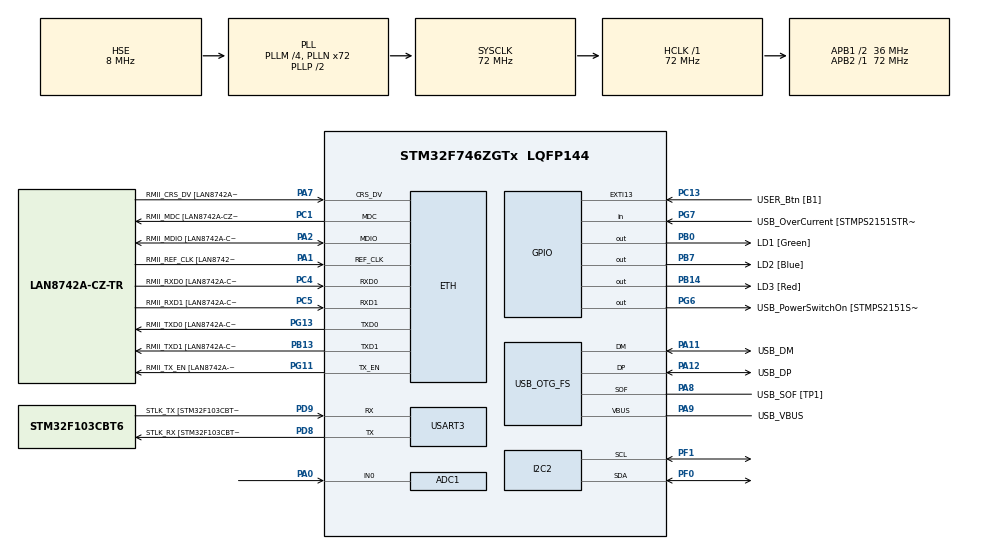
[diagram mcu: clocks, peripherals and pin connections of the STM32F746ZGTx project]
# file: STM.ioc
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ADC1.Channel-0\#ChannelRegularConversion=ADC_CHANNEL_0
ADC1.InjNumberOfConversion=0
ADC1.NbrOfConversion=1
ADC1.NbrOfConversionFlag=1
ADC1.Rank-0\#ChannelRegularConversion=1
ADC1.Resolution=ADC_RESOLUTION_10B
ADC1.SamplingTime-0\#ChannelRegularConversion=ADC_SAMPLETIME_3CYCLES
ADC1.master=1
ETH.MediaInterface=ETH_MEDIA_INTERFACE_RMII
ETH.PHY_Name=LAN8742A_PHY_ADDRESS
ETH.PHY_Value=0
ETH.PhyAddress=0
I2C2.Timing=0x00808CD2
Mcu.Family=STM32F7
Mcu.Name=STM32F746ZGTx
Mcu.Package=LQFP144
NVIC.PriorityGroup=NVIC_PRIORITYGROUP_4
NVIC.TIM2_IRQn=true\:0\:0\:false\:false\:true\:true\:true
PA0/WKUP.Signal=ADCx_IN0
PA1.GPIO_Label=RMII_REF_CLK [LAN8742A-CZ-TR_REFCLK0]
PA1.Mode=RMII
PA1.Signal=ETH_REF_CLK
PA10.GPIO_Label=USB_ID
PA10.Signal=USB_OTG_FS_ID
PA11.GPIO_Label=USB_DM
PA11.Mode=Device_Only
PA11.Signal=USB_OTG_FS_DM
PA12.GPIO_Label=USB_DP
PA12.Mode=Device_Only
PA12.Signal=USB_OTG_FS_DP
PA13.GPIO_Label=TMS
PA13.Mode=Serial_Wire
PA13.Signal=SYS_JTMS-SWDIO
PA14.GPIO_Label=TCK
PA14.Mode=Serial_Wire
PA14.Signal=SYS_JTCK-SWCLK
PA2.GPIO_Label=RMII_MDIO [LAN8742A-CZ-TR_MDIO]
PA2.Mode=RMII
PA2.Signal=ETH_MDIO
PA7.GPIO_Label=RMII_CRS_DV [LAN8742A-CZ-TR_CRS_DV]
PA7.Mode=RMII
PA7.Signal=ETH_CRS_DV
PA8.GPIO_Label=USB_SOF [TP1]
PA8.Mode=Activate_SOF_FS
PA8.Signal=USB_OTG_FS_SOF
PA9.GPIO_Label=USB_VBUS
PA9.Mode=Activate_VBUS
PA9.Signal=USB_OTG_FS_VBUS
PB0.GPIO_Label=LD1 [Green]
PB0.Signal=GPIO_Output
PB13.GPIO_Label=RMII_TXD1 [LAN8742A-CZ-TR_TXD1]
PB13.Mode=RMII
PB13.Signal=ETH_TXD1
PB14.GPIO_Label=LD3 [Red]
PB14.Signal=GPIO_Output
PB3.GPIO_Label=SW0
PB3.Signal=SYS_JTDO-SWO
PB7.GPIO_Label=LD2 [Blue]
PB7.Signal=GPIO_Output
PC1.GPIO_Label=RMII_MDC [LAN8742A-CZ-TR_MDC]
PC1.Mode=RMII
PC1.Signal=ETH_MDC
PC13.GPIO_Label=USER_Btn [B1]
PC13.Signal=GPXTI13
PC14/OSC32_IN.Mode=LSE-External-Oscillator
PC14/OSC32_IN.Signal=RCC_OSC32_IN
PC15/OSC32_OUT.Mode=LSE-External-Oscillator
PC15/OSC32_OUT.Signal=RCC_OSC32_OUT
PC4.GPIO_Label=RMII_RXD0 [LAN8742A-CZ-TR_RXD0]
PC4.Mode=RMII
PC4.Signal=ETH_RXD0
PC5.GPIO_Label=RMII_RXD1 [LAN8742A-CZ-TR_RXD1]
PC5.Mode=RMII
PC5.Signal=ETH_RXD1
PD8.GPIO_Label=STLK_RX [STM32F103CBT6_PA3]
PD8.Mode=Asynchronous
PD8.Signal=USART3_TX
PD9.GPIO_Label=STLK_TX [STM32F103CBT6_PA2]
PD9.Mode=Asynchronous
PD9.Signal=USART3_RX
PF0.Mode=I2C
PF0.Signal=I2C2_SDA
PF1.Mode=I2C
PF1.Signal=I2C2_SCL
PG11.GPIO_Label=RMII_TX_EN [LAN8742A-CZ-TR_TXEN]
PG11.Mode=RMII
PG11.Signal=ETH_TX_EN
PG13.GPIO_Label=RMII_TXD0 [LAN8742A-CZ-TR_TXD0]
PG13.Mode=RMII
PG13.Signal=ETH_TXD0
PG6.GPIO_Label=USB_PowerSwitchOn [STMPS2151STR_EN]
PG6.Signal=GPIO_Output
PG7.GPIO_Label=USB_OverCurrent [STMPS2151STR_FAULT]
PG7.Signal=GPIO_Input
PH0/OSC_IN.GPIO_Label=MCO [STM32F103CBT6_PA8]
PH0/OSC_IN.Mode=HSE-External-Clock-Source
PH0/OSC_IN.Signal=RCC_OSC_IN
PH1/OSC_OUT.Mode=HSE-External-Clock-Source
PH1/OSC_OUT.Signal=RCC_OSC_OUT
ProjectManager.HeapSize=0x200
ProjectManager.StackSize=0x400
ProjectManager.TargetToolchain=STM32CubeIDE
RCC.48MHZClocksFreq_Value=24000000
RCC.AHBFreq_Value=72000000
RCC.APB1CLKDivider=RCC_HCLK_DIV2
RCC.APB1Freq_Value=36000000
RCC.APB1TimFreq_Value=72000000
RCC.APB2Freq_Value=72000000
RCC.APB2TimFreq_Value=72000000
RCC.CortexFreq_Value=72000000
RCC.HCLKFreq_Value=72000000
RCC.HSE_VALUE=8000000
RCC.HSI_VALUE=16000000
RCC.PLLM=4
RCC.PLLMUL=RCC_PLL_MUL9
RCC.PLLN=72
RCC.PLLQ=3
RCC.PRESCALERUSB=RCC_USBCLKSOURCE_PLL_DIV1_5
RCC.SYSCLKFreq_VALUE=72000000
RCC.SYSCLKSource=RCC_SYSCLKSOURCE_PLLCLK
RCC.SYSCLKSourceVirtual=RCC_SYSCLKSOURCE_PLLCLK
RCC.USBFreq_Value=48000000
RCC.VCOOutputFreq_Value=144000000
SH.ADCx_IN0.0=ADC1_IN0,IN0
TIM2.Period=500000
TIM2.Prescaler=72-1
USART3.VirtualMode-Asynchronous=VM_ASYNC
USB_OTG_FS.VirtualMode=Device_Only
VP_TIM2_VS_ClockSourceINT.Mode=Internal
board=NUCLEO-F746ZG

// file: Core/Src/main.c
/* USER CODE BEGIN Header */
/**
  ******************************************************************************
  * @file           : main.c
  * @brief          : Main program body
  ******************************************************************************
  * @attention
  *
  * <h2><center>&copy; Copyright (c) 2022 STMicroelectronics.
  * All rights reserved.</center></h2>
  *
  * This software component is licensed by ST under BSD 3-Clause license,
  * the "License"; You may not use this file except in compliance with the
  * License. You may obtain a copy of the License at:
  *                        opensource.org/licenses/BSD-3-Clause
  *
  ******************************************************************************
  */
/* USER CODE END Header */
#include "main.h"

/* USER CODE BEGIN Includes */
#include "string.h"
/* USER CODE END Includes */

ADC_HandleTypeDef hadc1;

ETH_HandleTypeDef heth;

I2C_HandleTypeDef hi2c2;

TIM_HandleTypeDef htim2;

UART_HandleTypeDef huart3;

PCD_HandleTypeDef hpcd_USB_OTG_FS;

void SystemClock_Config(void);
static void MX_GPIO_Init(void);
static void MX_ETH_Init(void);
static void MX_USART3_UART_Init(void);
static void MX_USB_OTG_FS_PCD_Init(void);
static void MX_ADC1_Init(void);
static void MX_I2C2_Init(void);
static void MX_TIM2_Init(void);

/* USER CODE BEGIN 0 */
/*
 * 8 de marzo de 2021, 4 PM
 * código de MPU60 obtenido de https://youtu.be/xxphp9wDnHA
 * */

#define MPU6050_ADDR 0xD0

//definimos todas las direcciones necesarias
//para la configuración del mpu60
#define SMPLRT_DIV_REG 0x19
#define GYRO_CONFIG_REG 0x1B
#define ACCEL_CONFIG_REG 0x1C
#define ACCEL_XOUT_H_REG 0x3B
#define TEMP_OUT_H_REG 0x41
#define GYRO_XOUT_H_REG 0x43
#define PWR_MGMT_1_REG 0x6B
#define WHO_AM_I_REG 0x75

//variables globales donde se guardan los datos
int16_t Accel_X_RAW = 0;
int16_t Accel_Y_RAW = 0;
int16_t Accel_Z_RAW = 0;

int16_t Gyro_X_RAW = 0;
int16_t Gyro_Y_RAW = 0;
int16_t Gyro_Z_RAW = 0;

float Ax, Ay, Az, Gx, Gy, Gz;

uint32_t adc_value;

void MPU6050_Init (void)
{
	uint8_t check;
	uint8_t Data;

	// check device ID WHO_AM_I
	// Esta bandera sirve para saber si el sensor responde correctamente
	HAL_I2C_Mem_Read (&hi2c2, MPU6050_ADDR,WHO_AM_I_REG,1, &check, 1, 1000);

	if (check == 104)  // 0x68 will be returned by the sensor if everything goes well
	{
		// power management register 0X6B we should write all 0's to wake the sensor up
		// Encender, habilitar el sensor
		Data = 0;
		HAL_I2C_Mem_Write(&hi2c2, MPU6050_ADDR, PWR_MGMT_1_REG, 1,&Data, 1, 1000);

		// Set DATA RATE of 1KHz by writing SMPLRT_DIV register
		// frecuencia en la que se envían los datos
		Data = 0x07;
		HAL_I2C_Mem_Write(&hi2c2, MPU6050_ADDR, 0x1A, 1, &Data, 1, 1000);

		Data = 0x00;
		HAL_I2C_Mem_Write(&hi2c2, MPU6050_ADDR, SMPLRT_DIV_REG, 1, &Data, 1, 1000);

		// Set accelerometer configuration in ACCEL_CONFIG Register
		// XA_ST=0,YA_ST=0,ZA_ST=0, FS_SEL=0 -> ± 2g FS_SEL=1 -> ± 4g
		Data = 1ul<<3;
		HAL_I2C_Mem_Write(&hi2c2, MPU6050_ADDR, ACCEL_CONFIG_REG, 1, &Data, 1, 1000);

		// Set Gyroscopic configuration in GYRO_CONFIG Register
		// XG_ST=0,YG_ST=0,ZG_ST=0, FS_SEL=0 -> ± 250 °/s FS_SEL=1 -> ± 500 °/s
		Data = 1ul<<3;
		HAL_I2C_Mem_Write(&hi2c2, MPU6050_ADDR, GYRO_CONFIG_REG, 1, &Data, 1, 1000);
	}

}

void MPU6050_Read_Accel (void)
{
	HAL_GPIO_WritePin(GPIOB, GPIO_PIN_7, 1);
	uint8_t Rec_Data[6];

	// Read 6 BYTES of data starting from ACCEL_XOUT_H register

	HAL_I2C_Mem_Read (&hi2c2, MPU6050_ADDR, ACCEL_XOUT_H_REG, 1, Rec_Data, 6, 1000);

	Accel_X_RAW = (int16_t)(Rec_Data[0] << 8 | Rec_Data [1]);
	Accel_Y_RAW = (int16_t)(Rec_Data[2] << 8 | Rec_Data [3]);
	Accel_Z_RAW = (int16_t)(Rec_Data[4] << 8 | Rec_Data [5]);

	/*** convert the RAW values into acceleration in 'g'
	     we have to divide according to the Full scale value set in FS_SEL
	     I have configured FS_SEL = 0. So I am dividing by 16384.0
	     for more details check ACCEL_CONFIG Register              ****/

	Ax = Accel_X_RAW/8192.0;
	Ay = Accel_Y_RAW/8192.0;
	Az = Accel_Z_RAW/8192.0;
	HAL_GPIO_WritePin(GPIOB, GPIO_PIN_7, 0);
}

void MPU6050_Read_Gyro (void)
{
	uint8_t Rec_Data[6];

	// Read 6 BYTES of data starting from GYRO_XOUT_H register

	HAL_I2C_Mem_Read (&hi2c2, MPU6050_ADDR, GYRO_XOUT_H_REG, 1, Rec_Data, 6, 1000);

	Gyro_X_RAW = (int16_t)(Rec_Data[0] << 8 | Rec_Data [1]);
	Gyro_Y_RAW = (int16_t)(Rec_Data[2] << 8 | Rec_Data [3]);
	Gyro_Z_RAW = (int16_t)(Rec_Data[4] << 8 | Rec_Data [5]);

	/*** convert the RAW values into dps (°/s)
	     we have to divide according to the Full scale value set in FS_SEL
	     I have configured FS_SEL = 0. So I am dividing by 131.0
	     for more details check GYRO_CONFIG Register              ****/

	Gx = Gyro_X_RAW/131.0;
	Gy = Gyro_Y_RAW/131.0;
	Gz = Gyro_Z_RAW/131.0;

}

/* USER CODE END 0 */

int main(void)
{

  /* MCU Configuration--------------------------------------------------------*/

  /* Reset of all peripherals, Initializes the Flash interface and the Systick. */
  HAL_Init();

  /* Configure the system clock */
  SystemClock_Config();

  /* Initialize all configured peripherals */
  MX_GPIO_Init();
  MX_ETH_Init();
  MX_USART3_UART_Init();
  MX_USB_OTG_FS_PCD_Init();
  MX_ADC1_Init();
  MX_I2C2_Init();
  MX_TIM2_Init();
  /* USER CODE BEGIN 2 */

  char buf[4];
  MPU6050_Init();
  HAL_TIM_Base_Start_IT(&htim2);

  HAL_Delay (1000);
  /* USER CODE END 2 */

  /* Infinite loop */
  while (1)
  {

  }
}

void SystemClock_Config(void)
{
  RCC_OscInitTypeDef RCC_OscInitStruct = {0};
  RCC_ClkInitTypeDef RCC_ClkInitStruct = {0};
  RCC_PeriphCLKInitTypeDef PeriphClkInitStruct = {0};

  /** Configure LSE Drive Capability
  */
  HAL_PWR_EnableBkUpAccess();
  /** Configure the main internal regulator output voltage
  */
  __HAL_RCC_PWR_CLK_ENABLE();
  __HAL_PWR_VOLTAGESCALING_CONFIG(PWR_REGULATOR_VOLTAGE_SCALE3);
  /** Initializes the RCC Oscillators according to the specified parameters
  * in the RCC_OscInitTypeDef structure.
  */
  RCC_OscInitStruct.OscillatorType = RCC_OSCILLATORTYPE_HSE;
  RCC_OscInitStruct.HSEState = RCC_HSE_BYPASS;
  RCC_OscInitStruct.PLL.PLLState = RCC_PLL_ON;
  RCC_OscInitStruct.PLL.PLLSource = RCC_PLLSOURCE_HSE;
  RCC_OscInitStruct.PLL.PLLM = 4;
  RCC_OscInitStruct.PLL.PLLN = 72;
  RCC_OscInitStruct.PLL.PLLP = RCC_PLLP_DIV2;
  RCC_OscInitStruct.PLL.PLLQ = 3;
  if (HAL_RCC_OscConfig(&RCC_OscInitStruct) != HAL_OK)
  {
    Error_Handler();
  }
  /** Initializes the CPU, AHB and APB buses clocks
  */
  RCC_ClkInitStruct.ClockType = RCC_CLOCKTYPE_HCLK|RCC_CLOCKTYPE_SYSCLK
                              |RCC_CLOCKTYPE_PCLK1|RCC_CLOCKTYPE_PCLK2;
  RCC_ClkInitStruct.SYSCLKSource = RCC_SYSCLKSOURCE_PLLCLK;
  RCC_ClkInitStruct.AHBCLKDivider = RCC_SYSCLK_DIV1;
  RCC_ClkInitStruct.APB1CLKDivider = RCC_HCLK_DIV2;
  RCC_ClkInitStruct.APB2CLKDivider = RCC_HCLK_DIV1;

  if (HAL_RCC_ClockConfig(&RCC_ClkInitStruct, FLASH_LATENCY_2) != HAL_OK)
  {
    Error_Handler();
  }
  PeriphClkInitStruct.PeriphClockSelection = RCC_PERIPHCLK_USART3|RCC_PERIPHCLK_I2C2
                              |RCC_PERIPHCLK_CLK48;
  PeriphClkInitStruct.Usart3ClockSelection = RCC_USART3CLKSOURCE_PCLK1;
  PeriphClkInitStruct.I2c2ClockSelection = RCC_I2C2CLKSOURCE_PCLK1;
  PeriphClkInitStruct.Clk48ClockSelection = RCC_CLK48SOURCE_PLL;
  if (HAL_RCCEx_PeriphCLKConfig(&PeriphClkInitStruct) != HAL_OK)
  {
    Error_Handler();
  }
}

static void MX_ADC1_Init(void)
{

  ADC_ChannelConfTypeDef sConfig = {0};

  /** Configure the global features of the ADC (Clock, Resolution, Data Alignment and number of conversion)
  */
  hadc1.Instance = ADC1;
  hadc1.Init.ClockPrescaler = ADC_CLOCK_SYNC_PCLK_DIV2;
  hadc1.Init.Resolution = ADC_RESOLUTION_10B;
  hadc1.Init.ScanConvMode = ADC_SCAN_DISABLE;
  hadc1.Init.ContinuousConvMode = DISABLE;
  hadc1.Init.DiscontinuousConvMode = DISABLE;
  hadc1.Init.ExternalTrigConvEdge = ADC_EXTERNALTRIGCONVEDGE_NONE;
  hadc1.Init.ExternalTrigConv = ADC_SOFTWARE_START;
  hadc1.Init.DataAlign = ADC_DATAALIGN_RIGHT;
  hadc1.Init.NbrOfConversion = 1;
  hadc1.Init.DMAContinuousRequests = DISABLE;
  hadc1.Init.EOCSelection = ADC_EOC_SINGLE_CONV;
  if (HAL_ADC_Init(&hadc1) != HAL_OK)
  {
    Error_Handler();
  }
  /** Configure for the selected ADC regular channel its corresponding rank in the sequencer and its sample time.
  */
  sConfig.Channel = ADC_CHANNEL_0;
  sConfig.Rank = ADC_REGULAR_RANK_1;
  sConfig.SamplingTime = ADC_SAMPLETIME_3CYCLES;
  if (HAL_ADC_ConfigChannel(&hadc1, &sConfig) != HAL_OK)
  {
    Error_Handler();
  }

}

static void MX_ETH_Init(void)
{

  heth.Instance = ETH;
  heth.Init.AutoNegotiation = ETH_AUTONEGOTIATION_ENABLE;
  heth.Init.PhyAddress = LAN8742A_PHY_ADDRESS;
  heth.Init.MACAddr[0] =   0x00;
  heth.Init.MACAddr[1] =   0x80;
  heth.Init.MACAddr[2] =   0xE1;
  heth.Init.MACAddr[3] =   0x00;
  heth.Init.MACAddr[4] =   0x00;
  heth.Init.MACAddr[5] =   0x00;
  heth.Init.RxMode = ETH_RXPOLLING_MODE;
  heth.Init.ChecksumMode = ETH_CHECKSUM_BY_HARDWARE;
  heth.Init.MediaInterface = ETH_MEDIA_INTERFACE_RMII;

  if (HAL_ETH_Init(&heth) != HAL_OK)
  {
    Error_Handler();
  }

}

static void MX_I2C2_Init(void)
{

  hi2c2.Instance = I2C2;
  hi2c2.Init.Timing = 0x00808CD2;
  hi2c2.Init.OwnAddress1 = 0;
  hi2c2.Init.AddressingMode = I2C_ADDRESSINGMODE_7BIT;
  hi2c2.Init.DualAddressMode = I2C_DUALADDRESS_DISABLE;
  hi2c2.Init.OwnAddress2 = 0;
  hi2c2.Init.OwnAddress2Masks = I2C_OA2_NOMASK;
  hi2c2.Init.GeneralCallMode = I2C_GENERALCALL_DISABLE;
  hi2c2.Init.NoStretchMode = I2C_NOSTRETCH_DISABLE;
  if (HAL_I2C_Init(&hi2c2) != HAL_OK)
  {
    Error_Handler();
  }
  /** Configure Analogue filter
  */
  if (HAL_I2CEx_ConfigAnalogFilter(&hi2c2, I2C_ANALOGFILTER_ENABLE) != HAL_OK)
  {
    Error_Handler();
  }
  /** Configure Digital filter
  */
  if (HAL_I2CEx_ConfigDigitalFilter(&hi2c2, 0) != HAL_OK)
  {
    Error_Handler();
  }

}

static void MX_TIM2_Init(void)
{

  TIM_ClockConfigTypeDef sClockSourceConfig = {0};
  TIM_MasterConfigTypeDef sMasterConfig = {0};

  htim2.Instance = TIM2;
  htim2.Init.Prescaler = 72-1;
  htim2.Init.CounterMode = TIM_COUNTERMODE_UP;
  htim2.Init.Period = 2500;
  htim2.Init.ClockDivision = TIM_CLOCKDIVISION_DIV1;
  htim2.Init.AutoReloadPreload = TIM_AUTORELOAD_PRELOAD_DISABLE;
  if (HAL_TIM_Base_Init(&htim2) != HAL_OK)
  {
    Error_Handler();
  }
  sClockSourceConfig.ClockSource = TIM_CLOCKSOURCE_INTERNAL;
  if (HAL_TIM_ConfigClockSource(&htim2, &sClockSourceConfig) != HAL_OK)
  {
    Error_Handler();
  }
  sMasterConfig.MasterOutputTrigger = TIM_TRGO_RESET;
  sMasterConfig.MasterSlaveMode = TIM_MASTERSLAVEMODE_DISABLE;
  if (HAL_TIMEx_MasterConfigSynchronization(&htim2, &sMasterConfig) != HAL_OK)
  {
    Error_Handler();
  }

}

static void MX_USART3_UART_Init(void)
{

  huart3.Instance = USART3;
  huart3.Init.BaudRate = 115200;
  huart3.Init.WordLength = UART_WORDLENGTH_8B;
  huart3.Init.StopBits = UART_STOPBITS_1;
  huart3.Init.Parity = UART_PARITY_NONE;
  huart3.Init.Mode = UART_MODE_TX_RX;
  huart3.Init.HwFlowCtl = UART_HWCONTROL_NONE;
  huart3.Init.OverSampling = UART_OVERSAMPLING_16;
  huart3.Init.OneBitSampling = UART_ONE_BIT_SAMPLE_DISABLE;
  huart3.AdvancedInit.AdvFeatureInit = UART_ADVFEATURE_NO_INIT;
  if (HAL_UART_Init(&huart3) != HAL_OK)
  {
    Error_Handler();
  }

}

static void MX_USB_OTG_FS_PCD_Init(void)
{

  hpcd_USB_OTG_FS.Instance = USB_OTG_FS;
  hpcd_USB_OTG_FS.Init.dev_endpoints = 6;
  hpcd_USB_OTG_FS.Init.speed = PCD_SPEED_FULL;
  hpcd_USB_OTG_FS.Init.dma_enable = DISABLE;
  hpcd_USB_OTG_FS.Init.phy_itface = PCD_PHY_EMBEDDED;
  hpcd_USB_OTG_FS.Init.Sof_enable = ENABLE;
  hpcd_USB_OTG_FS.Init.low_power_enable = DISABLE;
  hpcd_USB_OTG_FS.Init.lpm_enable = DISABLE;
  hpcd_USB_OTG_FS.Init.vbus_sensing_enable = ENABLE;
  hpcd_USB_OTG_FS.Init.use_dedicated_ep1 = DISABLE;
  if (HAL_PCD_Init(&hpcd_USB_OTG_FS) != HAL_OK)
  {
    Error_Handler();
  }

}

static void MX_GPIO_Init(void)
{
  GPIO_InitTypeDef GPIO_InitStruct = {0};

  /* GPIO Ports Clock Enable */
  __HAL_RCC_GPIOC_CLK_ENABLE();
  __HAL_RCC_GPIOF_CLK_ENABLE();
  __HAL_RCC_GPIOH_CLK_ENABLE();
  __HAL_RCC_GPIOA_CLK_ENABLE();
  __HAL_RCC_GPIOB_CLK_ENABLE();
  __HAL_RCC_GPIOD_CLK_ENABLE();
  __HAL_RCC_GPIOG_CLK_ENABLE();

  /*Configure GPIO pin Output Level */
  HAL_GPIO_WritePin(GPIOB, LD1_Pin|LD3_Pin|LD2_Pin, GPIO_PIN_RESET);

  /*Configure GPIO pin Output Level */
  HAL_GPIO_WritePin(USB_PowerSwitchOn_GPIO_Port, USB_PowerSwitchOn_Pin, GPIO_PIN_RESET);

  /*Configure GPIO pin : USER_Btn_Pin */
  GPIO_InitStruct.Pin = USER_Btn_Pin;
  GPIO_InitStruct.Mode = GPIO_MODE_IT_RISING;
  GPIO_InitStruct.Pull = GPIO_NOPULL;
  HAL_GPIO_Init(USER_Btn_GPIO_Port, &GPIO_InitStruct);

  /*Configure GPIO pins : LD1_Pin LD3_Pin LD2_Pin */
  GPIO_InitStruct.Pin = LD1_Pin|LD3_Pin|LD2_Pin;
  GPIO_InitStruct.Mode = GPIO_MODE_OUTPUT_PP;
  GPIO_InitStruct.Pull = GPIO_NOPULL;
  GPIO_InitStruct.Speed = GPIO_SPEED_FREQ_LOW;
  HAL_GPIO_Init(GPIOB, &GPIO_InitStruct);

  /*Configure GPIO pin : USB_PowerSwitchOn_Pin */
  GPIO_InitStruct.Pin = USB_PowerSwitchOn_Pin;
  GPIO_InitStruct.Mode = GPIO_MODE_OUTPUT_PP;
  GPIO_InitStruct.Pull = GPIO_NOPULL;
  GPIO_InitStruct.Speed = GPIO_SPEED_FREQ_LOW;
  HAL_GPIO_Init(USB_PowerSwitchOn_GPIO_Port, &GPIO_InitStruct);

  /*Configure GPIO pin : USB_OverCurrent_Pin */
  GPIO_InitStruct.Pin = USB_OverCurrent_Pin;
  GPIO_InitStruct.Mode = GPIO_MODE_INPUT;
  GPIO_InitStruct.Pull = GPIO_NOPULL;
  HAL_GPIO_Init(USB_OverCurrent_GPIO_Port, &GPIO_InitStruct);

}

/* USER CODE BEGIN 4 */

void HAL_TIM_PeriodElapsedCallback(TIM_HandleTypeDef *htim)
{
	//SDA 		-> F0
	//SCL 		-> F1
	//ADC1 CH0 	-> A0

	UNUSED(htim);
	HAL_GPIO_WritePin(GPIOB, GPIO_PIN_0, 1);

	//HAL_ADC_Start(&hadc1);
	//HAL_ADC_PollForConversion(&hadc1, HAL_MAX_DELAY);
	//adc_value = HAL_ADC_GetValue(&hadc1);

	//sprintf(message, "%hu\r\n",(int)adc_value);
	//HAL_UART_Transmit(&huart3, (uint8_t*)message, strlen(message), HAL_MAX_DELAY);

	MPU6050_Read_Accel();
	// MPU6050_Read_Gyro();
	char message[11];
	//sprintf(message, "%1.2f\n",Ax);
	gcvt(Az,4,message);
	strcat(message,"\n");
	//message=to_string(Ax);
	HAL_UART_Transmit(&huart3, (uint8_t*)message, strlen(message), HAL_MAX_DELAY);
	HAL_GPIO_WritePin(GPIOB, GPIO_PIN_0, 0);

}

/* USER CODE END 4 */

void Error_Handler(void)
{
}

/************************ (C) COPYRIGHT STMicroelectronics *****END OF FILE****/
